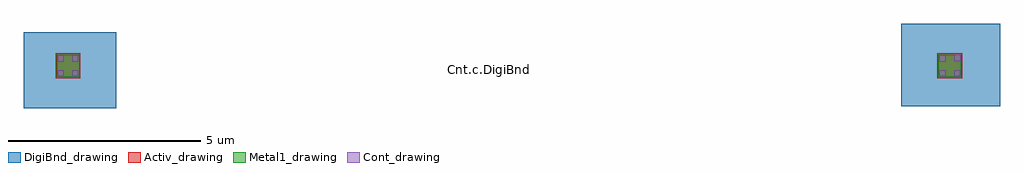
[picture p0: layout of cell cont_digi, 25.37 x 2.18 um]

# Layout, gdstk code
import gdstk
lib = gdstk.Library(unit=1e-6, precision=1e-09)
def R(c, l, rs):  # rectangles x0, y0, x1, y1
    for r in rs: c.add(gdstk.rectangle(r[:2], r[2:], *l))
Activ_drawing = (1, 0)
Cont_drawing = (6, 0)
Metal1_drawing = (8, 0)
DigiBnd_drawing = (16, 0)

cont_digi = lib.new_cell('cont_digi')
R(cont_digi, Activ_drawing, [(-11.272,6.029,-10.632,6.669), (11.649,6.029,12.289,6.669)])
R(cont_digi, Cont_drawing, [(-11.222,6.079,-11.062,6.239), (-10.842,6.079,-10.682,6.239), (11.699,6.079,11.859,6.239), (12.079,6.079,12.239,6.239), (-11.222,6.459,-11.062,6.619), (-10.842,6.459,-10.682,6.619), (11.699,6.459,11.859,6.619), (12.089,6.469,12.249,6.629)])
R(cont_digi, Metal1_drawing, [(-11.252,6.059,-10.652,6.639), (11.669,6.059,12.269,6.639)])
R(cont_digi, DigiBnd_drawing, [(-12.097,5.251,-9.703,7.225), (10.711,5.293,13.274,7.435)])
cont_digi.add(gdstk.Label('8.1.2 Cont-DigiBnd', (0,21), layer=63, texttype=0))
cont_digi.add(gdstk.Label('Cnt.c.DigiBnd', (0,6.257), layer=63, texttype=0))
cont_digi.add(gdstk.Label('PASS', (-12,12.873), layer=63, texttype=0))
cont_digi.add(gdstk.Label('FAIL', (12,12.873), layer=63, texttype=0))

lib.write_gds('cont_digi.gds')
